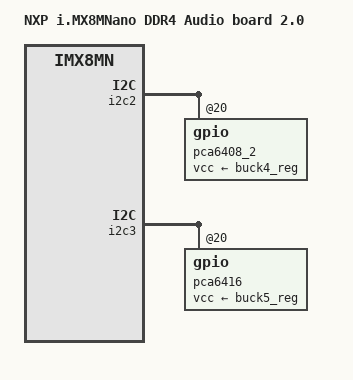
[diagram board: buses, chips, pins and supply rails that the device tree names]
// SPDX-License-Identifier: (GPL-2.0+ OR MIT)
/*
 * Copyright 2021 NXP
 */

/dts-v1/;

#include "imx8mn-ddr4-evk.dts"
#include "imx8mn-ab2.dtsi"

/ {
	model = "NXP i.MX8MNano DDR4 Audio board 2.0";
	compatible = "fsl,imx8mn-ddr4-ab2", "fsl,imx8mn";
};

&i2c2 {
	pca6408_2: gpio@20 {
		vcc-supply = <&buck4_reg>;
	};
};

&i2c3 {
	pca6416: gpio@20 {
		vcc-supply = <&buck5_reg>;
	};
};
